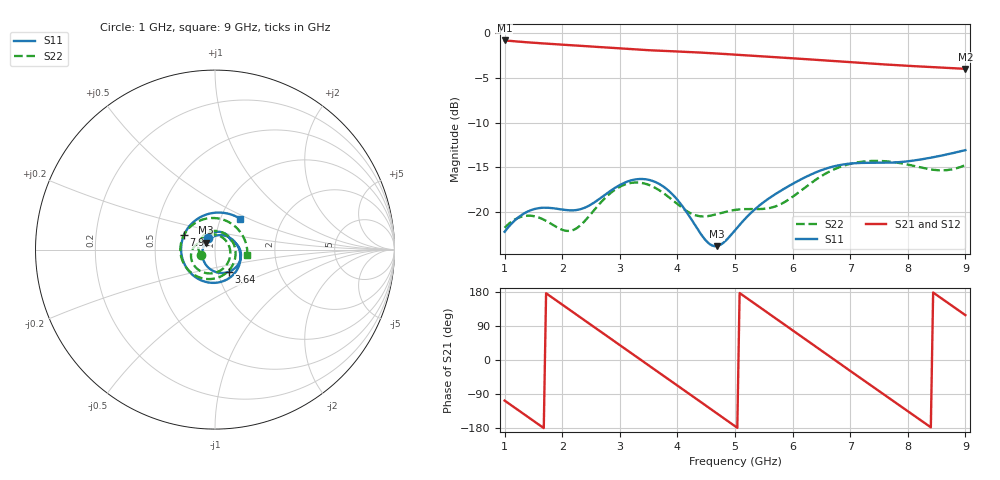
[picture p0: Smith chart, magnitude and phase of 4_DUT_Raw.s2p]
! Touchstone 1.1 File - Measured Raw DUT (Fixture A + True DUT + Fixture B)
! TRL Synthetic Dataset | eps_eff = 3.0 | f_c = 5.0 GHz | delta_l = 8.6543 mm
! Reference Impedance: 50 Ohms | Frequency: 1.0 to 9.0 GHz (201 points)
# GHz S RI R 50
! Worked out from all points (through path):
!   201 points, 1 GHz to 9 GHz, reference 50 ohm
!   highest |S21| = -0.84 dB at 1 GHz (marker M1); lowest = -4.0 dB at 9 GHz (marker M2)
!   group delay of S21, straight-line fit = 297 ps
!   lowest |S11| = -23.8 dB at 4.68 GHz (marker M3), VSWR 1.14, Z = 45 + j3.55 ohm
!   |S11| at or under -10 dB: start of sweep to end of sweep
!   |S22| runs from -22.1 to -14.3 dB; largest |S21 - S12| = 0
!   S11 on the Smith chart (normalised r, x): 1 GHz: 0.91, +0.12; 3.64 GHz: 1.13, -0.29; 7.92 GHz: 0.70, +0.12; 9 GHz: 1.23, +0.45
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1  -0.0414 0.0657  -0.267 -0.868  -0.267 -0.868  -0.0763 -0.0292
1.36  0.01 0.0986  -0.7324 -0.5031  -0.7324 -0.5031  -0.0906 0.0294
1.68  0.0574 0.0889  -0.8737 -0.00574  -0.8737 -0.00574  -0.0445 0.079
2  0.0811 0.064  -0.7154 0.4788  -0.7154 0.4788  0.0353 0.0714
2.36  0.0937 0.0469  -0.2568 0.8066  -0.2568 0.8066  0.0855 -0.0162
2.72  0.1197 0.0298  0.2961 0.7766  0.2961 0.7766  0.0379 -0.1114
3.08  0.1442 -0.0209  0.7012 0.417  0.7012 0.417  -0.0637 -0.1271
3.64  0.0783 -0.1233  0.6985 -0.3843  0.6985 -0.3843  -0.1331 -0.0235
3.68  0.0682 -0.1266  0.6671 -0.4346  0.6671 -0.4346  -0.1317 -0.0161
4.2  -0.0549 -0.0783  0.0173 -0.7828  0.0173 -0.7828  -0.0935 0.0343
4.68  -0.0511 0.0393  -0.5912 -0.4904  -0.5912 -0.4904  -0.0763 0.0603
5  0.00928 0.0786  -0.7536 -0.0704  -0.7536 -0.0704  -0.0459 0.092
5.32  0.0728 0.0714  -0.6525 0.361  -0.6525 0.361  0.019 0.1021
5.72  0.1251 0.0223  -0.2286 0.6955  -0.2286 0.6955  0.1013 0.0375
6.04  0.1419 -0.0347  0.1999 0.6928  0.1999 0.6928  0.1094 -0.0589
6.36  0.1282 -0.1028  0.5463 0.4527  0.5463 0.4527  0.049 -0.1401
6.92  -0.0015 -0.1852  0.6472 -0.2373  0.6472 -0.2373  -0.1199 -0.1381
7.32  -0.1312 -0.1352  0.3096 -0.6009  0.3096 -0.6009  -0.1887 -0.0382
7.68  -0.1884 -0.0116  -0.1273 -0.6524  -0.1273 -0.6524  -0.1766 0.0735
7.92  -0.1734 0.0796  -0.3919 -0.5283  -0.3919 -0.5283  -0.1267 0.1366
8.44  -0.0343 0.1994  -0.644 0.0213  -0.644 0.0213  0.0588 0.1619
9  0.1386 0.1731  -0.2994 0.5549  -0.2994 0.5549  0.1803 -0.0312
